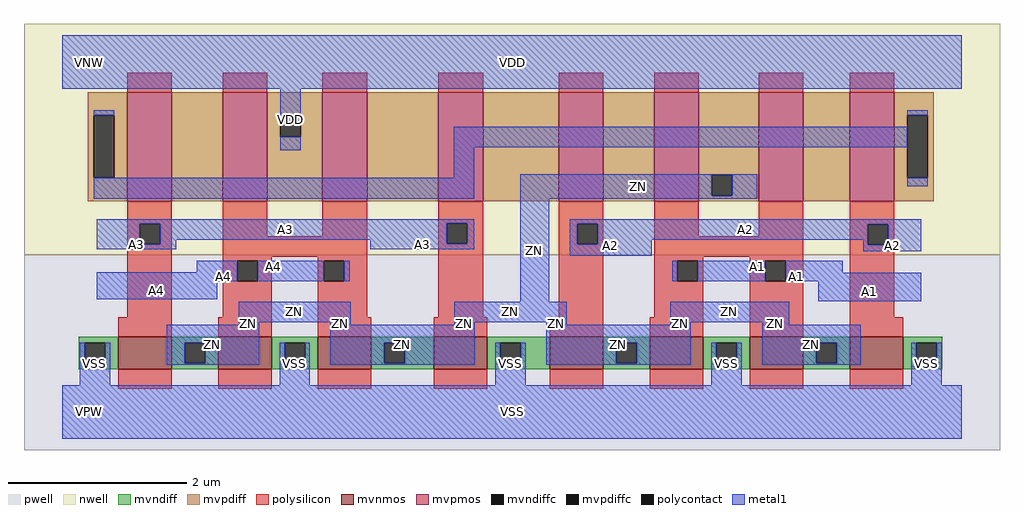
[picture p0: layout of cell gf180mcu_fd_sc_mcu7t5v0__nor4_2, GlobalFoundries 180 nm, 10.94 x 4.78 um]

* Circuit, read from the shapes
.subckt gf180mcu_fd_sc_mcu7t5v0__nor4_2 A1 A2 A3 A4 ZN VDD VNW VPW VSS
XM1 ZN A3 VSS VPW nfet_06v0 w=0.36u l=0.6u m=2
XM2 VSS A4 ZN VPW nfet_06v0 w=0.36u l=0.6u m=2
XM3 ZN A2 VSS VPW nfet_06v0 w=0.36u l=0.6u m=2
XM4 VSS A1 ZN VPW nfet_06v0 w=0.36u l=0.6u m=2
XM5 n1 A3 n2 VNW pfet_06v0 w=1.22u l=0.5u
XM6 VDD A4 n1 VNW pfet_06v0 w=1.22u l=0.5u
XM7 n3 A4 VDD VNW pfet_06v0 w=1.22u l=0.5u
XM8 n4 A3 n3 VNW pfet_06v0 w=1.22u l=0.5u
XM9 n5 A2 n4 VNW pfet_06v0 w=1.22u l=0.5u
XM10 ZN A1 n5 VNW pfet_06v0 w=1.22u l=0.5u
XM11 n6 A1 ZN VNW pfet_06v0 w=1.22u l=0.5u
XM12 n2 A2 n6 VNW pfet_06v0 w=1.22u l=0.5u
.ends

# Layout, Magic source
magic
tech gf180mcuD
magscale 1 10
<< nwell >>
rect -86 352 2102 870
<< pwell >>
rect -86 -86 2102 352
<< mvnmos >>
rect 125 96 245 168
rect 349 96 469 168
rect 573 96 693 168
rect 833 96 953 168
rect 1093 96 1213 168
rect 1317 96 1437 168
rect 1541 96 1661 168
rect 1765 96 1885 168
<< mvpmos >>
rect 145 472 245 716
rect 359 472 459 716
rect 583 472 683 716
rect 843 472 943 716
rect 1113 472 1213 716
rect 1327 472 1427 716
rect 1561 472 1661 716
rect 1765 472 1865 716
<< mvndiff >>
rect 37 155 125 168
rect 37 109 50 155
rect 96 109 125 155
rect 37 96 125 109
rect 245 155 349 168
rect 245 109 274 155
rect 320 109 349 155
rect 245 96 349 109
rect 469 155 573 168
rect 469 109 498 155
rect 544 109 573 155
rect 469 96 573 109
rect 693 155 833 168
rect 693 109 722 155
rect 768 109 833 155
rect 693 96 833 109
rect 953 155 1093 168
rect 953 109 982 155
rect 1028 109 1093 155
rect 953 96 1093 109
rect 1213 155 1317 168
rect 1213 109 1242 155
rect 1288 109 1317 155
rect 1213 96 1317 109
rect 1437 155 1541 168
rect 1437 109 1466 155
rect 1512 109 1541 155
rect 1437 96 1541 109
rect 1661 155 1765 168
rect 1661 109 1690 155
rect 1736 109 1765 155
rect 1661 96 1765 109
rect 1885 155 1973 168
rect 1885 109 1914 155
rect 1960 109 1973 155
rect 1885 96 1973 109
<< mvpdiff >>
rect 57 665 145 716
rect 57 525 70 665
rect 116 525 145 665
rect 57 472 145 525
rect 245 472 359 716
rect 459 663 583 716
rect 459 617 488 663
rect 534 617 583 663
rect 459 472 583 617
rect 683 472 843 716
rect 943 472 1113 716
rect 1213 472 1327 716
rect 1427 531 1561 716
rect 1427 485 1456 531
rect 1502 485 1561 531
rect 1427 472 1561 485
rect 1661 472 1765 716
rect 1865 665 1953 716
rect 1865 525 1894 665
rect 1940 525 1953 665
rect 1865 472 1953 525
<< mvndiffc >>
rect 50 109 96 155
rect 274 109 320 155
rect 498 109 544 155
rect 722 109 768 155
rect 982 109 1028 155
rect 1242 109 1288 155
rect 1466 109 1512 155
rect 1690 109 1736 155
rect 1914 109 1960 155
<< mvpdiffc >>
rect 70 525 116 665
rect 488 617 534 663
rect 1456 485 1502 531
rect 1894 525 1940 665
<< polysilicon >>
rect 145 716 245 760
rect 359 716 459 760
rect 583 716 683 760
rect 843 716 943 760
rect 1113 716 1213 760
rect 1327 716 1427 760
rect 1561 716 1661 760
rect 1765 716 1865 760
rect 145 422 245 472
rect 145 376 173 422
rect 219 376 245 422
rect 145 212 245 376
rect 359 394 459 472
rect 583 394 683 472
rect 359 348 683 394
rect 359 339 469 348
rect 359 293 392 339
rect 438 293 469 339
rect 359 212 469 293
rect 125 168 245 212
rect 349 168 469 212
rect 573 339 683 348
rect 573 293 586 339
rect 632 293 683 339
rect 573 212 683 293
rect 843 423 943 472
rect 843 377 862 423
rect 908 377 943 423
rect 843 212 943 377
rect 1113 422 1213 472
rect 1113 376 1154 422
rect 1200 376 1213 422
rect 1113 212 1213 376
rect 1327 394 1427 472
rect 1561 394 1661 472
rect 1327 348 1661 394
rect 1327 339 1437 348
rect 1327 293 1378 339
rect 1424 293 1437 339
rect 1327 212 1437 293
rect 573 168 693 212
rect 833 168 953 212
rect 1093 168 1213 212
rect 1317 168 1437 212
rect 1541 339 1661 348
rect 1541 293 1576 339
rect 1622 293 1661 339
rect 1541 168 1661 293
rect 1765 421 1865 472
rect 1765 375 1806 421
rect 1852 375 1865 421
rect 1765 212 1865 375
rect 1765 168 1885 212
rect 125 52 245 96
rect 349 52 469 96
rect 573 52 693 96
rect 833 52 953 96
rect 1093 52 1213 96
rect 1317 52 1437 96
rect 1541 52 1661 96
rect 1765 52 1885 96
<< polycontact >>
rect 173 376 219 422
rect 392 293 438 339
rect 586 293 632 339
rect 862 377 908 423
rect 1154 376 1200 422
rect 1378 293 1424 339
rect 1576 293 1622 339
rect 1806 375 1852 421
<< metal1 >>
rect 0 724 2016 844
rect 70 665 116 676
rect 488 663 534 724
rect 1894 665 1940 676
rect 488 587 534 617
rect 877 593 1894 639
rect 877 525 923 593
rect 70 478 923 525
rect 1026 531 1558 533
rect 1026 485 1456 531
rect 1502 485 1558 531
rect 1894 506 1940 525
rect 1026 478 1558 485
rect 77 423 923 432
rect 77 422 862 423
rect 77 376 173 422
rect 219 386 862 422
rect 219 376 255 386
rect 77 365 255 376
rect 690 377 862 386
rect 908 377 923 423
rect 690 365 923 377
rect 301 313 392 339
rect 77 293 392 313
rect 438 293 586 339
rect 632 293 644 339
rect 77 253 347 293
rect 1026 247 1092 478
rect 1138 422 1926 432
rect 1138 376 1154 422
rect 1200 421 1926 422
rect 1200 386 1806 421
rect 1200 376 1321 386
rect 1138 350 1321 376
rect 1795 375 1806 386
rect 1852 375 1926 421
rect 1795 360 1926 375
rect 1367 293 1378 339
rect 1424 293 1576 339
rect 1622 312 1749 339
rect 1622 293 1926 312
rect 1694 248 1926 293
rect 395 201 647 247
rect 395 195 441 201
rect 234 155 441 195
rect 601 195 647 201
rect 879 201 1131 247
rect 879 195 925 201
rect 601 155 925 195
rect 1085 195 1131 201
rect 1363 201 1629 247
rect 1363 195 1409 201
rect 1085 155 1409 195
rect 1569 195 1629 201
rect 1569 155 1790 195
rect 39 109 50 155
rect 96 109 107 155
rect 39 60 107 109
rect 234 109 274 155
rect 320 109 441 155
rect 234 106 441 109
rect 487 109 498 155
rect 544 109 555 155
rect 487 60 555 109
rect 601 109 722 155
rect 768 109 925 155
rect 601 106 925 109
rect 971 109 982 155
rect 1028 109 1039 155
rect 971 60 1039 109
rect 1085 109 1242 155
rect 1288 109 1409 155
rect 1085 106 1409 109
rect 1455 109 1466 155
rect 1512 109 1523 155
rect 1455 60 1523 109
rect 1569 109 1690 155
rect 1736 109 1790 155
rect 1569 106 1790 109
rect 1903 109 1914 155
rect 1960 109 1971 155
rect 1903 60 1971 109
rect 0 -60 2016 60
<< labels >>
flabel metal1 s 77 386 923 432 0 FreeSans 400 0 0 0 A3
port 3 nsew default input
flabel metal1 s 301 313 644 339 0 FreeSans 400 0 0 0 A4
port 4 nsew default input
flabel metal1 s 0 724 2016 844 0 FreeSans 400 0 0 0 VDD
port 6 nsew power bidirectional abutment
flabel metal1 s 1903 60 1971 155 0 FreeSans 400 0 0 0 VSS
port 9 nsew ground bidirectional abutment
flabel metal1 s 1026 478 1558 533 0 FreeSans 400 0 0 0 ZN
port 5 nsew default output
flabel metal1 s 1367 312 1749 339 0 FreeSans 400 0 0 0 A1
port 1 nsew default input
flabel metal1 s 1138 386 1926 432 0 FreeSans 400 0 0 0 A2
port 2 nsew default input
flabel nwell s 10 734 110 834 0 FreeSans 400 0 0 0 VNW
port 7 nsew power bidirectional
flabel pwell s 10 -50 110 50 0 FreeSans 400 0 0 0 VPW
port 8 nsew ground bidirectional
rlabel metal1 s 1367 293 1926 312 1 A1
port 1 nsew default input
rlabel metal1 s 1694 248 1926 293 1 A1
port 1 nsew default input
rlabel metal1 s 1795 360 1926 386 1 A2
port 2 nsew default input
rlabel metal1 s 1138 360 1321 386 1 A2
port 2 nsew default input
rlabel metal1 s 1138 350 1321 360 1 A2
port 2 nsew default input
rlabel metal1 s 690 365 923 386 1 A3
port 3 nsew default input
rlabel metal1 s 77 365 255 386 1 A3
port 3 nsew default input
rlabel metal1 s 77 293 644 313 1 A4
port 4 nsew default input
rlabel metal1 s 77 253 347 293 1 A4
port 4 nsew default input
rlabel metal1 s 1026 247 1092 478 1 ZN
port 5 nsew default output
rlabel metal1 s 1363 201 1629 247 1 ZN
port 5 nsew default output
rlabel metal1 s 879 201 1131 247 1 ZN
port 5 nsew default output
rlabel metal1 s 395 201 647 247 1 ZN
port 5 nsew default output
rlabel metal1 s 1569 195 1629 201 1 ZN
port 5 nsew default output
rlabel metal1 s 1363 195 1409 201 1 ZN
port 5 nsew default output
rlabel metal1 s 1085 195 1131 201 1 ZN
port 5 nsew default output
rlabel metal1 s 879 195 925 201 1 ZN
port 5 nsew default output
rlabel metal1 s 601 195 647 201 1 ZN
port 5 nsew default output
rlabel metal1 s 395 195 441 201 1 ZN
port 5 nsew default output
rlabel metal1 s 1569 106 1790 195 1 ZN
port 5 nsew default output
rlabel metal1 s 1085 106 1409 195 1 ZN
port 5 nsew default output
rlabel metal1 s 601 106 925 195 1 ZN
port 5 nsew default output
rlabel metal1 s 234 106 441 195 1 ZN
port 5 nsew default output
rlabel metal1 s 488 587 534 724 1 VDD
port 6 nsew power bidirectional abutment
rlabel metal1 s 1455 60 1523 155 1 VSS
port 9 nsew ground bidirectional abutment
rlabel metal1 s 971 60 1039 155 1 VSS
port 9 nsew ground bidirectional abutment
rlabel metal1 s 487 60 555 155 1 VSS
port 9 nsew ground bidirectional abutment
rlabel metal1 s 39 60 107 155 1 VSS
port 9 nsew ground bidirectional abutment
rlabel metal1 s 0 -60 2016 60 1 VSS
port 9 nsew ground bidirectional abutment
<< properties >>
string FIXED_BBOX 0 0 2016 784
string GDS_END 768908
string GDS_FILE $PDKPATH/libs.ref/gf180mcu_fd_sc_mcu7t5v0/gds/gf180mcu_fd_sc_mcu7t5v0.gds
string GDS_START 764174
string LEFclass core
string LEFsite GF018hv5v_mcu_sc7
string LEFsymmetry X Y
<< end >>
